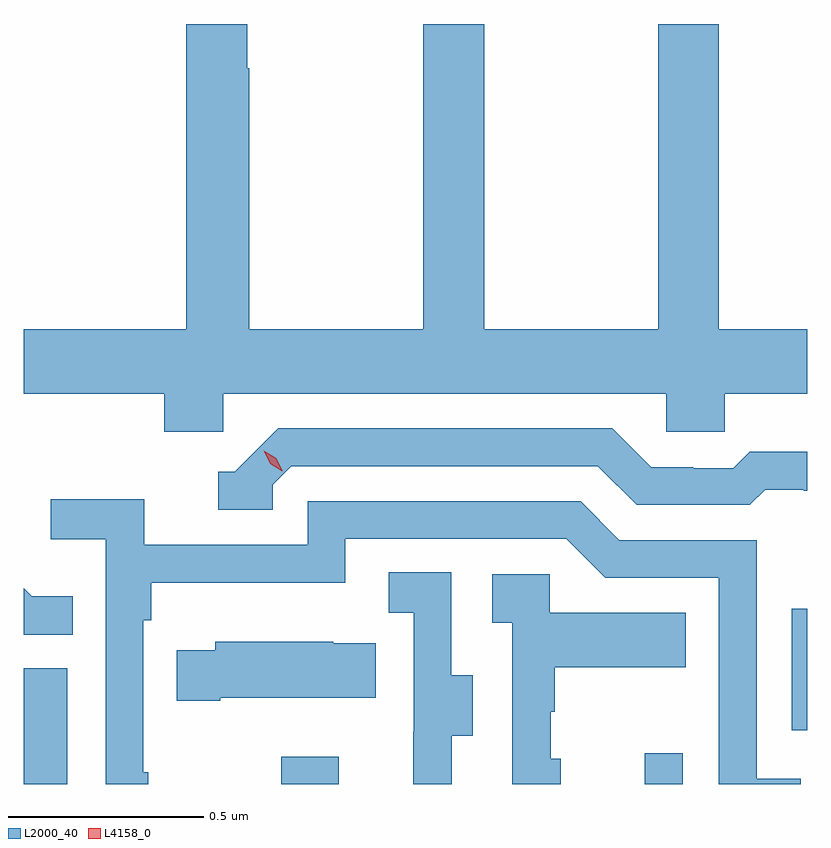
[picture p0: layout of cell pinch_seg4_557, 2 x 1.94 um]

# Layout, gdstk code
import gdstk
lib = gdstk.Library(unit=1e-6, precision=1e-09)
def R(c, l, rs):  # rectangles x0, y0, x1, y1
    for r in rs: c.add(gdstk.rectangle(r[:2], r[2:], *l))
def P(c, l, *ps):  # polygons
    for p in ps: c.add(gdstk.Polygon(p, *l))
L2000_40 = (2000, 40)
L4158_0 = (4158, 0)

pinch_seg4_557 = lib.new_cell('pinch_seg4_557')
R(pinch_seg4_557, L2000_40, [(1142.413,785.167,1142.524,785.463), (1143.07,785.167,1143.217,785.236), (1143.998,785.167,1144.095,785.245), (1144.374,785.304,1144.413,785.614)])
P(pinch_seg4_557, L2000_40, [(1142.922,786.164),(1144.053,786.164),(1144.053,786.066),(1144.203,786.066),(1144.203,786.164),(1144.413,786.164),(1144.413,786.328),(1144.188,786.328),(1144.188,787.108),(1144.033,787.108),(1144.033,786.328),(1143.588,786.328),(1143.588,787.108),(1143.433,787.108),(1143.433,786.328),(1142.988,786.328),(1142.988,786.995),(1142.983,786.995),(1142.983,787.108),(1142.828,787.108),(1142.828,786.328),(1142.413,786.328),(1142.413,786.164),(1142.771,786.164),(1142.771,786.066),(1142.922,786.066)],
  [(1143.048,785.931),(1143.096,785.979),(1143.879,785.979),(1143.978,785.88),(1144.267,785.88),(1144.306,785.919),(1144.405,785.919),(1144.405,785.916),(1144.413,785.916),(1144.413,786.016),(1144.267,786.016),(1144.225,785.973),(1144.122,785.973),(1144.122,785.976),(1144.015,785.976),(1143.916,786.075),(1143.063,786.075),(1142.952,785.964),(1142.909,785.964),(1142.909,785.868),(1143.048,785.868)],
  [(1142.731,785.197),(1142.718,785.197),(1142.718,785.585),(1142.738,785.585),(1142.738,785.681),(1143.234,785.681),(1143.234,785.793),(1143.798,785.793),(1143.897,785.694),(1144.188,785.694),(1144.188,785.167),(1144.397,785.167),(1144.397,785.181),(1144.284,785.181),(1144.284,785.79),(1143.934,785.79),(1143.835,785.889),(1143.138,785.889),(1143.138,785.778),(1142.72,785.778),(1142.72,785.894),(1142.481,785.894),(1142.481,785.792),(1142.622,785.792),(1142.622,785.167),(1142.731,785.167)],
  [(1143.505,785.29),(1143.559,785.29),(1143.559,785.445),(1143.504,785.445),(1143.504,785.708),(1143.345,785.708),(1143.345,785.605),(1143.408,785.605),(1143.408,785.301),(1143.407,785.301),(1143.407,785.167),(1143.505,785.167)],
  [(1143.784,785.232),(1143.759,785.232),(1143.759,785.351),(1143.769,785.351),(1143.769,785.465),(1144.103,785.465),(1144.103,785.605),(1143.756,785.605),(1143.756,785.703),(1143.609,785.703),(1143.609,785.579),(1143.66,785.579),(1143.66,785.167),(1143.784,785.167)],
  [(1142.537,785.647),(1142.433,785.647),(1142.413,785.667),(1142.413,785.548),(1142.537,785.548)],
  [(1142.914,785.387),(1143.311,785.387),(1143.311,785.527),(1143.203,785.527),(1143.203,785.53),(1142.901,785.53),(1142.901,785.509),(1142.803,785.509),(1142.803,785.38),(1142.914,785.38)])
P(pinch_seg4_557, L4158_0, [(1143.073,785.966),(1143.042,785.985),(1143.026,786.018),(1143.026,786.018),(1143.026,786.018),(1143.057,785.999),(1143.073,785.967),(1143.073,785.966)])

lib.write_gds('pinch_seg4_557.gds')
